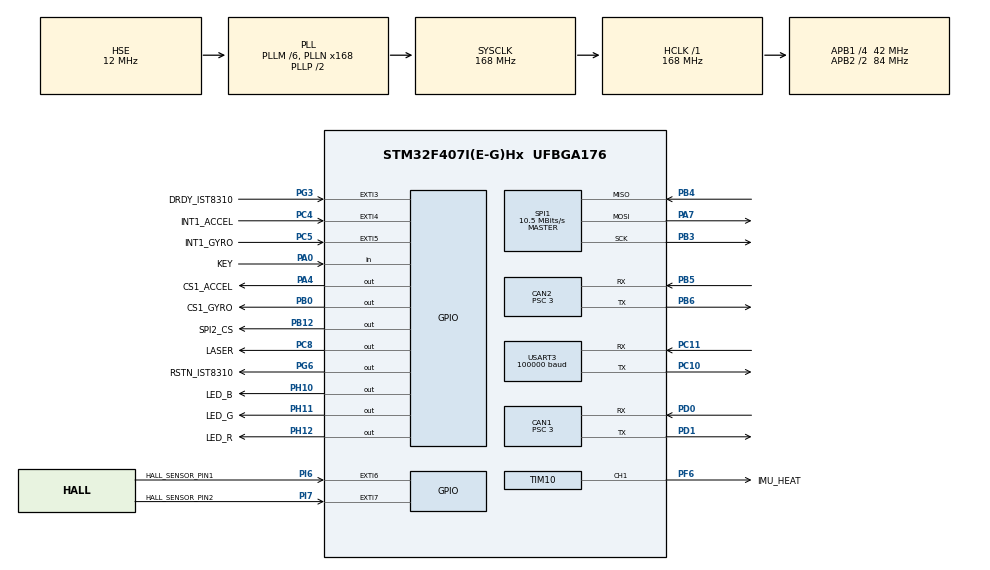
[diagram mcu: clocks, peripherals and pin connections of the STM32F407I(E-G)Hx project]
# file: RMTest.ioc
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CAN1.BS1=CAN_BS1_10TQ
CAN1.BS2=CAN_BS2_3TQ
CAN1.CalculateBaudRate=1000000
CAN1.CalculateTimeBit=1000
CAN1.CalculateTimeQuantum=71.42857142857143
CAN1.Prescaler=3
CAN2.BS1=CAN_BS1_10TQ
CAN2.BS2=CAN_BS2_3TQ
CAN2.CalculateBaudRate=1000000
CAN2.CalculateTimeBit=1000
CAN2.CalculateTimeQuantum=71.42857142857143
CAN2.Prescaler=3
Dma.Request0=USART3_RX
Dma.Request1=SPI1_RX
Dma.Request2=SPI1_TX
Dma.SPI1_RX.1.Direction=DMA_PERIPH_TO_MEMORY
Dma.SPI1_RX.1.FIFOMode=DMA_FIFOMODE_DISABLE
Dma.SPI1_RX.1.Instance=DMA2_Stream2
Dma.SPI1_RX.1.MemDataAlignment=DMA_MDATAALIGN_BYTE
Dma.SPI1_RX.1.MemInc=DMA_MINC_ENABLE
Dma.SPI1_RX.1.Mode=DMA_NORMAL
Dma.SPI1_RX.1.PeriphDataAlignment=DMA_PDATAALIGN_BYTE
Dma.SPI1_RX.1.PeriphInc=DMA_PINC_DISABLE
Dma.SPI1_RX.1.Priority=DMA_PRIORITY_VERY_HIGH
Dma.SPI1_TX.2.Direction=DMA_MEMORY_TO_PERIPH
Dma.SPI1_TX.2.FIFOMode=DMA_FIFOMODE_DISABLE
Dma.SPI1_TX.2.Instance=DMA2_Stream3
Dma.SPI1_TX.2.MemDataAlignment=DMA_MDATAALIGN_BYTE
Dma.SPI1_TX.2.MemInc=DMA_MINC_ENABLE
Dma.SPI1_TX.2.Mode=DMA_NORMAL
Dma.SPI1_TX.2.PeriphDataAlignment=DMA_PDATAALIGN_BYTE
Dma.SPI1_TX.2.PeriphInc=DMA_PINC_DISABLE
Dma.SPI1_TX.2.Priority=DMA_PRIORITY_HIGH
Dma.USART3_RX.0.Direction=DMA_PERIPH_TO_MEMORY
Dma.USART3_RX.0.FIFOMode=DMA_FIFOMODE_DISABLE
Dma.USART3_RX.0.Instance=DMA1_Stream1
Dma.USART3_RX.0.MemDataAlignment=DMA_MDATAALIGN_BYTE
Dma.USART3_RX.0.MemInc=DMA_MINC_ENABLE
Dma.USART3_RX.0.Mode=DMA_CIRCULAR
Dma.USART3_RX.0.PeriphDataAlignment=DMA_PDATAALIGN_BYTE
Dma.USART3_RX.0.PeriphInc=DMA_PINC_DISABLE
Dma.USART3_RX.0.Priority=DMA_PRIORITY_VERY_HIGH
Mcu.Family=STM32F4
Mcu.Name=STM32F407I(E-G)Hx
Mcu.Package=UFBGA176
NVIC.CAN1_RX0_IRQn=true\:0\:0\:false\:false\:true\:true\:true\:true
NVIC.CAN2_RX0_IRQn=true\:0\:0\:false\:false\:true\:true\:true\:true
NVIC.DMA1_Stream1_IRQn=true\:0\:0\:true\:false\:true\:false\:true\:true
NVIC.DMA2_Stream2_IRQn=true\:5\:0\:true\:false\:false\:false\:true\:true
NVIC.DMA2_Stream3_IRQn=true\:5\:0\:true\:false\:false\:false\:true\:true
NVIC.EXTI3_IRQn=true\:5\:0\:true\:false\:true\:true\:true\:true
NVIC.EXTI4_IRQn=true\:5\:0\:true\:false\:true\:true\:true\:true
NVIC.EXTI9_5_IRQn=true\:5\:0\:true\:false\:true\:true\:true\:true
NVIC.PriorityGroup=NVIC_PRIORITYGROUP_4
NVIC.TIM1_UP_TIM10_IRQn=true\:0\:0\:false\:false\:true\:true\:true\:true
NVIC.TIM2_IRQn=true\:0\:0\:true\:false\:true\:true\:true\:true
NVIC.TimeBase=TIM2_IRQn
NVIC.TimeBaseIP=TIM2
NVIC.USART3_IRQn=true\:0\:0\:false\:false\:true\:true\:true\:true
PA0-WKUP.GPIO_Label=KEY
PA0-WKUP.GPIO_PuPd=GPIO_PULLUP
PA0-WKUP.Signal=GPIO_Input
PA13.Mode=Serial_Wire
PA13.Signal=SYS_JTMS-SWDIO
PA14.Mode=Serial_Wire
PA14.Signal=SYS_JTCK-SWCLK
PA4.GPIO_Label=CS1_ACCEL
PA4.GPIO_ModeDefaultOutputPP=GPIO_MODE_OUTPUT_PP
PA4.GPIO_PuPd=GPIO_PULLUP
PA4.GPIO_Speed=GPIO_SPEED_FREQ_HIGH
PA4.PinState=GPIO_PIN_SET
PA4.Signal=GPIO_Output
PA7.GPIO_PuPd=GPIO_PULLUP
PA7.Mode=Full_Duplex_Master
PA7.Signal=SPI1_MOSI
PA9.Signal=USART1_TX
PB0.GPIO_Label=CS1_GYRO
PB0.GPIO_PuPd=GPIO_PULLUP
PB0.GPIO_Speed=GPIO_SPEED_FREQ_HIGH
PB0.PinState=GPIO_PIN_SET
PB0.Signal=GPIO_Output
PB12.GPIO_Label=SPI2_CS
PB12.GPIO_PuPd=GPIO_PULLUP
PB12.GPIO_Speed=GPIO_SPEED_FREQ_MEDIUM
PB12.PinState=GPIO_PIN_SET
PB12.Signal=GPIO_Output
PB3.GPIO_PuPd=GPIO_PULLUP
PB3.Mode=Full_Duplex_Master
PB3.Signal=SPI1_SCK
PB4.GPIO_PuPd=GPIO_PULLUP
PB4.Mode=Full_Duplex_Master
PB4.Signal=SPI1_MISO
PB5.Mode=CAN_Activate
PB5.Signal=CAN2_RX
PB6.Mode=CAN_Activate
PB6.Signal=CAN2_TX
PB7.Signal=USART1_RX
PC10.Mode=Asynchronous
PC10.Signal=USART3_TX
PC11.Mode=Asynchronous
PC11.Signal=USART3_RX
PC4.GPIO_Label=INT1_ACCEL
PC4.GPIO_ModeDefaultEXTI=GPIO_MODE_IT_FALLING
PC4.GPIO_PuPd=GPIO_PULLUP
PC4.Signal=GPXTI4
PC5.GPIO_Label=INT1_GYRO
PC5.GPIO_ModeDefaultEXTI=GPIO_MODE_IT_FALLING
PC5.GPIO_PuPd=GPIO_PULLUP
PC5.Signal=GPXTI5
PC8.GPIO_Label=LASER
PC8.Signal=GPIO_Output
PD0.Mode=CAN_Activate
PD0.Signal=CAN1_RX
PD1.Mode=CAN_Activate
PD1.Signal=CAN1_TX
PF6.GPIO_Label=IMU_HEAT
PF6.GPIO_PuPd=GPIO_PULLUP
PF6.GPIO_Speed=GPIO_SPEED_FREQ_HIGH
PF6.Signal=S_TIM10_CH1
PG14.Signal=USART6_TX
PG3.GPIO_Label=DRDY_IST8310
PG3.GPIO_ModeDefaultEXTI=GPIO_MODE_IT_FALLING
PG3.GPIO_PuPd=GPIO_PULLUP
PG3.Signal=GPXTI3
PG6.GPIO_Label=RSTN_IST8310
PG6.GPIO_PuPd=GPIO_PULLUP
PG6.GPIO_Speed=GPIO_SPEED_FREQ_MEDIUM
PG6.PinState=GPIO_PIN_SET
PG6.Signal=GPIO_Output
PG9.Signal=USART6_RX
PH0-OSC_IN.Mode=HSE-External-Oscillator
PH0-OSC_IN.Signal=RCC_OSC_IN
PH1-OSC_OUT.Mode=HSE-External-Oscillator
PH1-OSC_OUT.Signal=RCC_OSC_OUT
PH10.GPIO_Label=LED_B
PH10.Signal=GPIO_Output
PH11.GPIO_Label=LED_G
PH11.Signal=GPIO_Output
PH12.GPIO_Label=LED_R
PH12.Signal=GPIO_Output
PI6.GPIO_Label=HALL_SENSOR_PIN1
PI6.GPIO_ModeDefaultEXTI=GPIO_MODE_IT_RISING
PI6.Signal=GPXTI6
PI7.GPIO_Label=HALL_SENSOR_PIN2
PI7.Signal=GPXTI7
ProjectManager.HeapSize=0x200
ProjectManager.StackSize=0x400
ProjectManager.TargetToolchain=STM32CubeIDE
RCC.48MHZClocksFreq_Value=84000000
RCC.AHBFreq_Value=168000000
RCC.APB1CLKDivider=RCC_HCLK_DIV4
RCC.APB1Freq_Value=42000000
RCC.APB1TimFreq_Value=84000000
RCC.APB2CLKDivider=RCC_HCLK_DIV2
RCC.APB2Freq_Value=84000000
RCC.APB2TimFreq_Value=168000000
RCC.CortexFreq_Value=168000000
RCC.HCLKFreq_Value=168000000
RCC.HSE_VALUE=12000000
RCC.HSI_VALUE=16000000
RCC.LSE_VALUE=32768
RCC.PLLM=6
RCC.PLLN=168
RCC.PLLSourceVirtual=RCC_PLLSOURCE_HSE
RCC.SYSCLKFreq_VALUE=168000000
RCC.SYSCLKSource=RCC_SYSCLKSOURCE_PLLCLK
RCC.VCOOutputFreq_Value=336000000
SH.S_TIM10_CH1.0=TIM10_CH1,PWM Generation1 CH1
SPI1.BaudRatePrescaler=SPI_BAUDRATEPRESCALER_8
SPI1.CLKPhase=SPI_PHASE_2EDGE
SPI1.CLKPolarity=SPI_POLARITY_HIGH
SPI1.CalculateBaudRate=10.5 MBits/s
SPI1.Direction=SPI_DIRECTION_2LINES
SPI1.Mode=SPI_MODE_MASTER
SPI1.VirtualType=VM_MASTER
TIM1.Period=99
TIM1.Prescaler=1679
TIM10.Channel=TIM_CHANNEL_1
TIM10.Period=1999
TIM10.Prescaler=83
USART3.BaudRate=100000
USART3.Mode=MODE_RX
USART3.Parity=PARITY_EVEN
USART3.VirtualMode=VM_ASYNC
VP_SYS_VS_tim2.Mode=TIM2
VP_TIM10_VS_ClockSourceINT.Mode=Enable_Timer
VP_TIM1_VS_ClockSourceINT.Mode=Internal
board=custom

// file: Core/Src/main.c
/* USER CODE BEGIN Header */
/**
  ******************************************************************************
  * @file           : main.c
  * @brief          : Main program body
  ******************************************************************************
  * @attention
  *
  * Copyright (c) 2024 STMicroelectronics.
  * All rights reserved.
  *
  * This software is licensed under terms that can be found in the LICENSE file
  * in the root directory of this software component.
  * If no LICENSE file comes with this software, it is provided AS-IS.
  *
  ******************************************************************************
  */
/* USER CODE END Header */
#include "main.h"
#include "can.h"
#include "dma.h"
#include "spi.h"
#include "tim.h"
#include "usart.h"
#include "gpio.h"

/* USER CODE BEGIN Includes */
#include <stdio.h>
#include <string.h>

#include "BMI088driver.h"
#include "bsp_dwt.h"
#include "Bsp_CAN.h"
#include "Bsp_Controller.h"
#include "Driver_DM4310.h"
#include "ins_task.h"
/* USER CODE END Includes */

/* USER CODE BEGIN PV */
volatile uint8_t dbus_rx_buffer[18];
volatile RC_Ctl_t RC_Ctl={0,0,0,0,1,1};
volatile uint8_t RCMode=0;
volatile int32_t RCMode_cnt=0;
/* USER CODE END PV */

void SystemClock_Config(void);

int main(void)
{

  /* USER CODE BEGIN 1 */
    //修复openocd初始化时钟问�???????
    //__HAL_RCC_HSI_ENABLE();
    __HAL_RCC_SYSCLK_CONFIG(RCC_SYSCLKSOURCE_HSI);
  /* USER CODE END 1 */

  /* MCU Configuration--------------------------------------------------------*/

  /* Reset of all peripherals, Initializes the Flash interface and the Systick. */
  HAL_Init();

  /* Configure the system clock */
  SystemClock_Config();

  /* Initialize all configured peripherals */
  MX_GPIO_Init();
  MX_DMA_Init();
  MX_USART3_UART_Init();
  MX_SPI1_Init();
  MX_TIM1_Init();
  MX_CAN1_Init();
  MX_CAN2_Init();
  MX_TIM10_Init();
  /* USER CODE BEGIN 2 */
  dbus_uart_init();
  can_filter_init();
  ctrl_motor_Init();
  HAL_TIM_Base_Start_IT(&htim1);

  DWT_Init(168);
  while (BMI088_init(&hspi1, 1) != BMI088_NO_ERROR)
    ;
  INS_Init();
  /* USER CODE END 2 */

  /* Infinite loop */
  while (1)
  {

    /* USER CODE BEGIN 3 */
    INS_Task();
    // if (RCMode == 1) LED_WHITE();
    // if (RCMode == 0) LED_OFF();
  }
  /* USER CODE END 3 */
}

void SystemClock_Config(void)
{
  RCC_OscInitTypeDef RCC_OscInitStruct = {0};
  RCC_ClkInitTypeDef RCC_ClkInitStruct = {0};

  /** Configure the main internal regulator output voltage
  */
  __HAL_RCC_PWR_CLK_ENABLE();
  __HAL_PWR_VOLTAGESCALING_CONFIG(PWR_REGULATOR_VOLTAGE_SCALE1);

  /** Initializes the RCC Oscillators according to the specified parameters
  * in the RCC_OscInitTypeDef structure.
  */
  RCC_OscInitStruct.OscillatorType = RCC_OSCILLATORTYPE_HSE;
  RCC_OscInitStruct.HSEState = RCC_HSE_ON;
  RCC_OscInitStruct.PLL.PLLState = RCC_PLL_ON;
  RCC_OscInitStruct.PLL.PLLSource = RCC_PLLSOURCE_HSE;
  RCC_OscInitStruct.PLL.PLLM = 6;
  RCC_OscInitStruct.PLL.PLLN = 168;
  RCC_OscInitStruct.PLL.PLLP = RCC_PLLP_DIV2;
  RCC_OscInitStruct.PLL.PLLQ = 4;
  if (HAL_RCC_OscConfig(&RCC_OscInitStruct) != HAL_OK)
  {
    Error_Handler();
  }

  /** Initializes the CPU, AHB and APB buses clocks
  */
  RCC_ClkInitStruct.ClockType = RCC_CLOCKTYPE_HCLK|RCC_CLOCKTYPE_SYSCLK
                              |RCC_CLOCKTYPE_PCLK1|RCC_CLOCKTYPE_PCLK2;
  RCC_ClkInitStruct.SYSCLKSource = RCC_SYSCLKSOURCE_PLLCLK;
  RCC_ClkInitStruct.AHBCLKDivider = RCC_SYSCLK_DIV1;
  RCC_ClkInitStruct.APB1CLKDivider = RCC_HCLK_DIV4;
  RCC_ClkInitStruct.APB2CLKDivider = RCC_HCLK_DIV2;

  if (HAL_RCC_ClockConfig(&RCC_ClkInitStruct, FLASH_LATENCY_5) != HAL_OK)
  {
    Error_Handler();
  }
}

/* USER CODE BEGIN 4 */
void LED_WHITE(void)
{
  HAL_GPIO_WritePin(LED_R_GPIO_Port, LED_R_Pin, GPIO_PIN_SET);
  HAL_GPIO_WritePin(LED_G_GPIO_Port, LED_G_Pin, GPIO_PIN_SET);
  HAL_GPIO_WritePin(LED_B_GPIO_Port, LED_B_Pin, GPIO_PIN_SET);
}

void LED_RED(void)
{
  HAL_GPIO_WritePin(LED_R_GPIO_Port, LED_R_Pin, GPIO_PIN_SET);
  HAL_GPIO_WritePin(LED_G_GPIO_Port, LED_G_Pin, GPIO_PIN_RESET);
  HAL_GPIO_WritePin(LED_B_GPIO_Port, LED_B_Pin, GPIO_PIN_RESET);
}

void LED_GREEN(void)
{
  HAL_GPIO_WritePin(LED_R_GPIO_Port, LED_R_Pin, GPIO_PIN_RESET);
  HAL_GPIO_WritePin(LED_G_GPIO_Port, LED_G_Pin, GPIO_PIN_SET);
  HAL_GPIO_WritePin(LED_B_GPIO_Port, LED_B_Pin, GPIO_PIN_RESET);
}

void LED_BLUE(void)
{
  HAL_GPIO_WritePin(LED_R_GPIO_Port, LED_R_Pin, GPIO_PIN_RESET);
  HAL_GPIO_WritePin(LED_G_GPIO_Port, LED_G_Pin, GPIO_PIN_RESET);
  HAL_GPIO_WritePin(LED_B_GPIO_Port, LED_B_Pin, GPIO_PIN_SET);
}

void LED_OFF(void)
{
  HAL_GPIO_WritePin(LED_R_GPIO_Port, LED_R_Pin, GPIO_PIN_RESET);
  HAL_GPIO_WritePin(LED_G_GPIO_Port, LED_G_Pin, GPIO_PIN_RESET);
  HAL_GPIO_WritePin(LED_B_GPIO_Port, LED_B_Pin, GPIO_PIN_RESET);
}

/* USER CODE END 4 */

void Error_Handler(void)
{
  __disable_irq();
  while (1)
  {
  }
}
